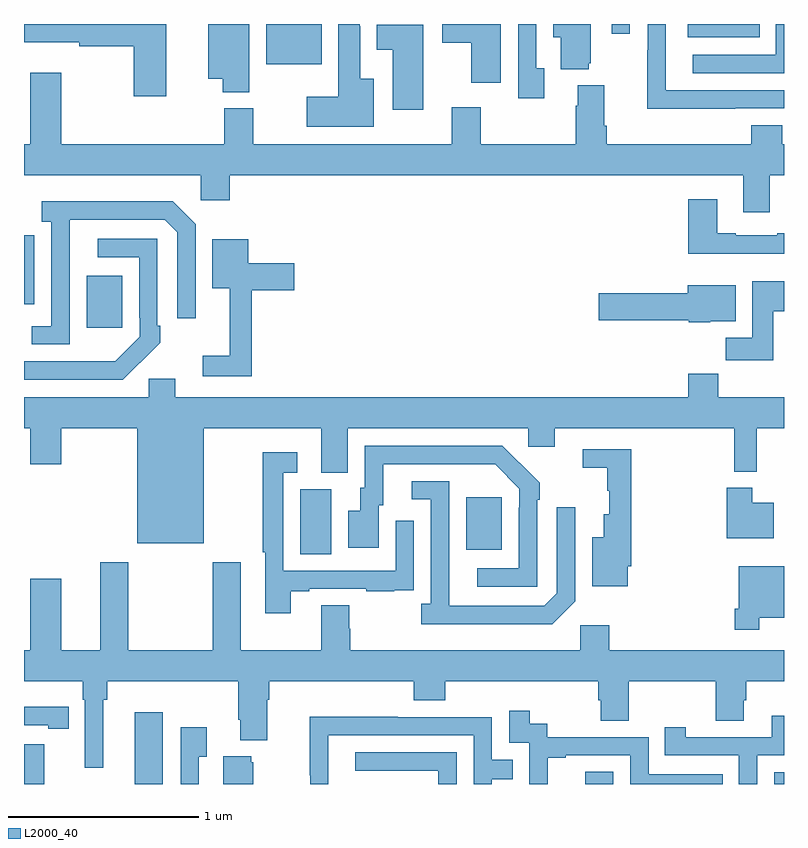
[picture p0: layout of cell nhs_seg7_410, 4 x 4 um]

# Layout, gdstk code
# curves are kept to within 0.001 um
import gdstk
lib = gdstk.Library(unit=1e-6, precision=1e-09)
def R(c, l, rs):  # rectangles x0, y0, x1, y1
    for r in rs: c.add(gdstk.rectangle(r[:2], r[2:], *l))
def P(c, l, *ps):  # polygons
    for p in ps: c.add(gdstk.Polygon(p, *l))
L2000_40 = (2000, 40)

nhs_seg7_410 = lib.new_cell('nhs_seg7_410')
R(nhs_seg7_410, L2000_40, [(141,1076,141.107,1076.209), (141.584,1076,141.73,1076.377), (143.955,1076,144.102,1076.065), (144.948,1076,145,1076.061), (142.454,1077.208,142.618,1077.552), (143.327,1077.233,143.515,1077.508), (141.329,1078.401,141.517,1078.675), (142.274,1079.789,142.567,1080), (144.494,1079.93,144.872,1080), (144.093,1079.949,144.189,1080)])
P(nhs_seg7_410, L2000_40, [(144.743,1079.556),(145,1079.556),(145,1079.652),(144.378,1079.652),(144.378,1080),(144.282,1080),(144.282,1079.861),(144.28,1079.861),(144.28,1079.555),(144.743,1079.555)],
  [(143.737,1079.766),(143.697,1079.766),(143.697,1080),(143.601,1080),(143.601,1079.61),(143.737,1079.61)],
  [(143.509,1080),(143.202,1080),(143.202,1079.902),(143.354,1079.902),(143.354,1079.691),(143.509,1079.691)],
  [(142.186,1080),(141.971,1080),(141.971,1079.711),(142.045,1079.711),(142.045,1079.641),(142.186,1079.641)],
  [(141.748,1080),(141,1080),(141,1079.903),(141.292,1079.903),(141.292,1079.884),(141.578,1079.884),(141.578,1079.619),(141.748,1079.619)],
  [(142.84,1079.713),(142.771,1079.713),(142.771,1079.987),(142.767,1079.987),(142.767,1080),(142.655,1080),(142.655,1079.617),(142.488,1079.617),(142.488,1079.459),(142.84,1079.459)],
  [(145,1080),(144.957,1080),(144.957,1079.838),(144.519,1079.838),(144.519,1079.742),(145,1079.742)],
  [(143.972,1079.793),(143.983,1079.793),(143.983,1080),(143.786,1080),(143.786,1079.93),(143.825,1079.93),(143.825,1079.762),(143.972,1079.762)],
  [(143.101,1079.995),(142.856,1079.995),(142.856,1079.864),(142.94,1079.864),(142.94,1079.55),(143.101,1079.55)],
  [(144.925,1079.204),(145,1079.204),(145,1079.368),(144.992,1079.368),(144.992,1079.467),(144.827,1079.467),(144.827,1079.368),(144.068,1079.368),(144.068,1079.464),(144.055,1079.464),(144.055,1079.677),(143.915,1079.677),(143.915,1079.57),(143.903,1079.57),(143.903,1079.368),(143.405,1079.368),(143.405,1079.563),(143.252,1079.563),(143.252,1079.368),(142.207,1079.368),(142.207,1079.556),(142.055,1079.556),(142.055,1079.368),(141.196,1079.368),(141.196,1079.743),(141.032,1079.743),(141.032,1079.368),(141,1079.368),(141,1079.204),(141.93,1079.204),(141.93,1079.073),(142.082,1079.073),(142.082,1079.204),(144.785,1079.204),(144.785,1079.01),(144.925,1079.01)],
  [(145,1078.9),(144.965,1078.9),(144.965,1078.887),(144.745,1078.887),(144.745,1078.9),(144.649,1078.9),(144.649,1079.077),(144.497,1079.077),(144.497,1078.79),(145,1078.79)],
  [(141.24,1078.771),(141.241,1078.971),(141.741,1078.971),(141.807,1078.905),(141.807,1078.452),(141.903,1078.452),(141.903,1078.947),(141.782,1079.068),(141.093,1079.068),(141.093,1078.958),(141.144,1078.958),(141.144,1078.41),(141.042,1078.41),(141.042,1078.314),(141.24,1078.314)],
  [(141.054,1078.778),(141.053,1078.778),(141.053,1078.887),(141,1078.887),(141,1078.524),(141.054,1078.524)],
  [(141.611,1078.219),(141.612,1078.218),(141.717,1078.323),(141.717,1078.411),(141.702,1078.411),(141.702,1078.869),(141.387,1078.869),(141.387,1078.773),(141.606,1078.773),(141.606,1078.453),(141.609,1078.453),(141.609,1078.353),(141.481,1078.225),(141,1078.224),(141,1078.128),(141.52,1078.128)],
  [(142.199,1078.598),(142.423,1078.598),(142.423,1078.74),(142.18,1078.74),(142.18,1078.867),(141.992,1078.867),(141.992,1078.61),(142.082,1078.61),(142.082,1078.255),(141.942,1078.255),(141.942,1078.146),(142.199,1078.146)],
  [(144.943,1078.489),(145,1078.489),(145,1078.645),(144.833,1078.645),(144.833,1078.348),(144.694,1078.348),(144.694,1078.23),(144.943,1078.23)],
  [(144.612,1078.436),(144.745,1078.436),(144.745,1078.624),(144.494,1078.624),(144.494,1078.583),(144.024,1078.583),(144.024,1078.441),(144.498,1078.441),(144.498,1078.43),(144.612,1078.43)],
  [(141.946,1077.872),(142.565,1077.872),(142.565,1077.637),(142.705,1077.637),(142.705,1077.872),(143.655,1077.872),(143.655,1077.774),(143.794,1077.774),(143.794,1077.872),(144.739,1077.872),(144.739,1077.644),(144.857,1077.644),(144.857,1077.872),(145,1077.872),(145,1078.036),(144.653,1078.036),(144.653,1078.16),(144.497,1078.16),(144.497,1078.036),(141.796,1078.036),(141.796,1078.134),(141.657,1078.134),(141.657,1078.036),(141,1078.036),(141,1077.872),(141.032,1077.872),(141.032,1077.684),(141.196,1077.684),(141.196,1077.872),(141.596,1077.872),(141.596,1077.266),(141.946,1077.266)],
  [(143.7,1077.497),(143.715,1077.497),(143.715,1077.585),(143.518,1077.78),(142.794,1077.78),(142.794,1077.558),(142.769,1077.558),(142.769,1077.439),(142.706,1077.439),(142.706,1077.243),(142.867,1077.243),(142.867,1077.468),(142.891,1077.468),(142.891,1077.684),(143.479,1077.684),(143.607,1077.555),(143.607,1077.455),(143.604,1077.455),(143.604,1077.135),(143.385,1077.135),(143.385,1077.039),(143.7,1077.039)],
  [(144.178,1077.145),(144.197,1077.145),(144.197,1077.762),(143.94,1077.762),(143.94,1077.664),(144.069,1077.664),(144.069,1077.543),(144.08,1077.543),(144.08,1077.421),(144.05,1077.421),(144.05,1077.298),(143.99,1077.298),(143.99,1077.041),(144.178,1077.041)],
  [(142.405,1077.015),(142.501,1077.015),(142.501,1077.027),(142.801,1077.027),(142.801,1077.015),(142.949,1077.015),(142.949,1077.021),(143.051,1077.021),(143.051,1077.13),(143.052,1077.13),(143.052,1077.385),(142.956,1077.385),(142.956,1077.123),(142.365,1077.123),(142.365,1077.639),(142.438,1077.639),(142.438,1077.745),(142.257,1077.745),(142.257,1077.22),(142.269,1077.22),(142.269,1076.898),(142.405,1076.898)],
  [(143.901,1076.961),(143.901,1077.457),(143.805,1077.457),(143.805,1077.003),(143.739,1076.937),(143.239,1076.937),(143.238,1077.594),(143.04,1077.594),(143.04,1077.498),(143.142,1077.498),(143.142,1076.95),(143.091,1076.95),(143.091,1076.84),(143.78,1076.84)],
  [(144.946,1077.481),(144.832,1077.481),(144.832,1077.559),(144.698,1077.559),(144.698,1077.293),(144.946,1077.293)],
  [(141.418,1076.444),(141.437,1076.444),(141.437,1076.54),(142.127,1076.54),(142.127,1076.338),(142.139,1076.338),(142.139,1076.231),(142.279,1076.231),(142.279,1076.444),(142.292,1076.444),(142.292,1076.54),(143.051,1076.54),(143.051,1076.441),(143.216,1076.441),(143.216,1076.54),(144.023,1076.54),(144.023,1076.442),(144.035,1076.442),(144.035,1076.332),(144.183,1076.332),(144.183,1076.54),(144.64,1076.54),(144.64,1076.332),(144.787,1076.332),(144.787,1076.442),(144.8,1076.442),(144.8,1076.54),(145,1076.54),(145,1076.704),(144.08,1076.704),(144.08,1076.836),(143.928,1076.836),(143.928,1076.704),(142.718,1076.704),(142.718,1076.817),(142.713,1076.817),(142.713,1076.942),(142.565,1076.942),(142.565,1076.704),(142.141,1076.704),(142.141,1077.166),(141.994,1077.166),(141.994,1076.704),(141.549,1076.704),(141.549,1077.166),(141.401,1077.166),(141.401,1076.704),(141.196,1076.704),(141.196,1077.079),(141.032,1077.079),(141.032,1076.704),(141,1076.704),(141,1076.54),(141.308,1076.54),(141.308,1076.444),(141.321,1076.444),(141.321,1076.085),(141.418,1076.085)],
  [(144.871,1076.876),(145,1076.876),(145,1077.145),(144.762,1077.145),(144.762,1076.923),(144.742,1076.923),(144.742,1076.811),(144.871,1076.811)],
  [(141.236,1076.406),(141.128,1076.406),(141.128,1076.407),(141,1076.407),(141,1076.31),(141.128,1076.31),(141.128,1076.29),(141.236,1076.29)],
  [(143.756,1076.139),(143.851,1076.139),(143.851,1076.151),(144.192,1076.151),(144.192,1076),(144.677,1076),(144.677,1076.052),(144.288,1076.052),(144.288,1076.247),(143.754,1076.247),(143.754,1076.316),(143.662,1076.316),(143.662,1076.386),(143.553,1076.386),(143.553,1076.217),(143.658,1076.217),(143.658,1076),(143.756,1076)],
  [(144.858,1076.151),(145,1076.151),(145,1076.359),(144.935,1076.359),(144.935,1076.247),(144.484,1076.247),(144.484,1076.299),(144.373,1076.299),(144.373,1076.151),(144.762,1076.151),(144.762,1076),(144.858,1076)],
  [(142.602,1076.256),(143.367,1076.256),(143.367,1076),(143.463,1076),(143.463,1076.026),(143.573,1076.026),(143.573,1076.127),(143.463,1076.127),(143.463,1076.352),(142.967,1076.352),(142.967,1076.354),(142.504,1076.354),(142.504,1076.047),(142.506,1076.047),(142.506,1076),(142.602,1076)],
  [(141.921,1076.143),(141.961,1076.143),(141.961,1076.299),(141.825,1076.299),(141.825,1076),(141.921,1076)],
  [(143.277,1076.166),(142.743,1076.166),(142.743,1076.07),(143.181,1076.07),(143.181,1076),(143.277,1076)],
  [(142.207,1076.115),(142.196,1076.115),(142.196,1076.146),(142.049,1076.146),(142.049,1076),(142.207,1076)])

lib.write_gds('nhs_seg7_410.gds')
